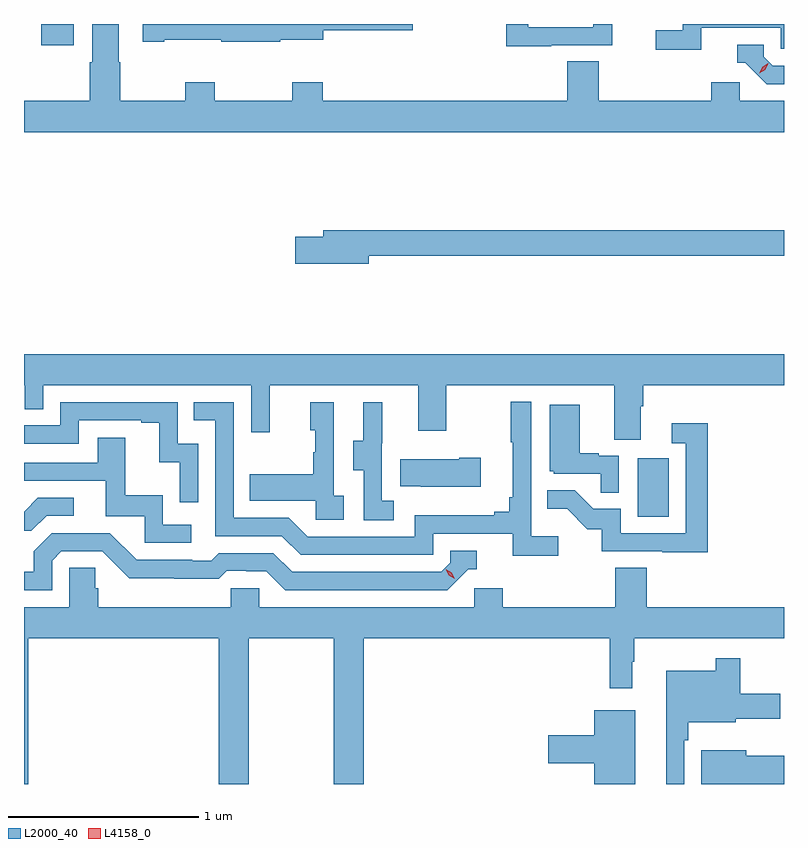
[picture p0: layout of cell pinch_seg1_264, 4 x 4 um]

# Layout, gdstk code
import gdstk
lib = gdstk.Library(unit=1e-6, precision=1e-09)
def R(c, l, rs):  # rectangles x0, y0, x1, y1
    for r in rs: c.add(gdstk.rectangle(r[:2], r[2:], *l))
def P(c, l, *ps):  # polygons
    for p in ps: c.add(gdstk.Polygon(p, *l))
L2000_40 = (2000, 40)
L4158_0 = (4158, 0)

pinch_seg1_264 = lib.new_cell('pinch_seg1_264')
R(pinch_seg1_264, L2000_40, [(926.822,571.02,926.986,571.327), (923.684,573.501,923.854,573.613)])
P(pinch_seg1_264, L2000_40, [(927.593,573.208),(927.36,573.208),(927.36,573.306),(927.209,573.306),(927.209,573.208),(926.618,573.208),(926.618,573.416),(926.453,573.416),(926.453,573.208),(925.166,573.208),(925.166,573.307),(925.006,573.307),(925.006,573.208),(924.597,573.208),(924.597,573.307),(924.442,573.307),(924.442,573.208),(924.099,573.208),(924.099,573.413),(924.091,573.413),(924.091,573.613),(923.951,573.613),(923.951,573.413),(923.939,573.413),(923.939,573.208),(923.593,573.208),(923.593,573.044),(927.593,573.044)],
  [(927.158,573.594),(927.576,573.594),(927.576,573.483),(927.593,573.483),(927.593,573.613),(927.06,573.613),(927.06,573.58),(926.919,573.58),(926.919,573.478),(927.158,573.478)],
  [(926.369,573.501),(926.688,573.501),(926.688,573.613),(926.589,573.613),(926.589,573.597),(926.247,573.597),(926.247,573.613),(926.131,573.613),(926.131,573.496),(926.369,573.496)],
  [(924.331,573.529),(924.631,573.529),(924.631,573.519),(924.941,573.519),(924.941,573.529),(925.168,573.529),(925.168,573.58),(925.639,573.58),(925.639,573.613),(924.219,573.613),(924.219,573.519),(924.331,573.519)],
  [(927.593,573.393),(927.534,573.393),(927.486,573.441),(927.486,573.504),(927.347,573.504),(927.347,573.408),(927.39,573.408),(927.501,573.297),(927.593,573.297)],
  [(925.408,572.392),(927.593,572.392),(927.593,572.528),(925.169,572.528),(925.169,572.492),(925.02,572.492),(925.02,572.35),(925.408,572.35)],
  [(926.839,571.6),(926.852,571.6),(926.852,571.712),(927.593,571.712),(927.593,571.876),(923.593,571.876),(923.593,571.712),(923.598,571.712),(923.598,571.585),(923.694,571.585),(923.694,571.712),(924.789,571.712),(924.789,571.464),(924.887,571.464),(924.887,571.712),(925.667,571.712),(925.667,571.473),(925.815,571.473),(925.815,571.712),(926.699,571.712),(926.699,571.426),(926.839,571.426)],
  [(926.404,570.916),(926.262,570.916),(926.262,571.624),(926.154,571.624),(926.154,571.411),(926.165,571.411),(926.165,571.123),(926.146,571.123),(926.146,571.046),(926.069,571.046),(926.069,571.027),(925.65,571.027),(925.65,570.915),(925.086,570.915),(924.987,571.014),(924.696,571.014),(924.696,571.623),(924.487,571.623),(924.487,571.527),(924.6,571.527),(924.6,570.918),(924.95,570.918),(925.049,570.819),(925.746,570.819),(925.746,570.93),(926.165,570.93),(926.165,570.814),(926.404,570.814)],
  [(924.51,571.404),(924.402,571.404),(924.402,571.623),(923.784,571.623),(923.784,571.5),(923.593,571.5),(923.593,571.404),(923.88,571.404),(923.88,571.527),(924.209,571.527),(924.209,571.515),(924.305,571.515),(924.305,571.307),(924.414,571.307),(924.414,571.095),(924.51,571.095)],
  [(925.276,571.13),(925.224,571.13),(925.224,571.621),(925.1,571.621),(925.1,571.476),(925.126,571.476),(925.126,571.358),(925.116,571.358),(925.116,571.243),(924.781,571.243),(924.781,571.103),(925.128,571.103),(925.128,571.005),(925.276,571.005)],
  [(925.54,571.103),(925.476,571.103),(925.476,571.407),(925.478,571.407),(925.478,571.621),(925.379,571.621),(925.379,571.419),(925.325,571.419),(925.325,571.264),(925.38,571.264),(925.38,571),(925.54,571)],
  [(926.724,571.341),(926.618,571.341),(926.618,571.354),(926.518,571.354),(926.518,571.609),(926.36,571.609),(926.36,571.26),(926.382,571.26),(926.382,571.245),(926.629,571.245),(926.629,571.147),(926.724,571.147)],
  [(927.191,571.513),(927.003,571.513),(927.003,571.407),(927.075,571.407),(927.075,570.933),(926.733,570.933),(926.733,571.062),(926.589,571.062),(926.491,571.16),(926.347,571.16),(926.347,571.061),(926.451,571.061),(926.558,570.954),(926.635,570.954),(926.635,570.837),(926.953,570.837),(926.953,570.832),(927.191,570.832)],
  [(924.472,570.978),(924.324,570.978),(924.324,571.132),(924.125,571.132),(924.125,571.435),(923.981,571.435),(923.981,571.305),(923.593,571.305),(923.593,571.209),(924.023,571.209),(924.023,571.023),(924.228,571.023),(924.228,570.882),(924.472,570.882)],
  [(925.996,571.329),(925.883,571.329),(925.883,571.321),(925.573,571.321),(925.573,571.181),(925.681,571.181),(925.681,571.178),(925.996,571.178)],
  [(923.712,571.026),(923.854,571.026),(923.854,571.119),(923.666,571.119),(923.593,571.046),(923.593,570.946),(923.632,570.946)],
  [(923.742,570.789),(923.79,570.837),(924.006,570.837),(924.148,570.695),(924.384,570.695),(924.384,570.693),(924.617,570.693),(924.659,570.735),(924.762,570.735),(924.762,570.732),(924.869,570.732),(924.968,570.633),(925.821,570.633),(925.932,570.744),(925.975,570.744),(925.975,570.84),(925.836,570.84),(925.836,570.777),(925.788,570.729),(925.005,570.729),(924.906,570.828),(924.617,570.828),(924.578,570.789),(924.479,570.789),(924.479,570.792),(924.186,570.792),(924.045,570.933),(923.739,570.933),(923.645,570.839),(923.645,570.729),(923.593,570.729),(923.593,570.633),(923.742,570.633)],
  [(923.615,570.38),(924.617,570.38),(924.617,569.613),(924.777,569.613),(924.777,570.38),(925.222,570.38),(925.222,569.613),(925.382,569.613),(925.382,570.38),(926.677,570.38),(926.677,570.117),(926.794,570.117),(926.794,570.257),(926.806,570.257),(926.806,570.38),(927.593,570.38),(927.593,570.544),(926.87,570.544),(926.87,570.752),(926.705,570.752),(926.705,570.544),(926.114,570.544),(926.114,570.642),(925.962,570.642),(925.962,570.544),(924.831,570.544),(924.831,570.642),(924.681,570.642),(924.681,570.544),(923.984,570.544),(923.984,570.642),(923.969,570.642),(923.969,570.752),(923.832,570.752),(923.832,570.544),(923.593,570.544),(923.593,569.613),(923.615,569.613)],
  [(927.069,569.843),(927.089,569.843),(927.089,569.939),(927.339,569.939),(927.339,569.957),(927.574,569.957),(927.574,570.087),(927.362,570.087),(927.362,570.274),(927.234,570.274),(927.234,570.208),(926.972,570.208),(926.972,569.613),(927.069,569.613)],
  [(926.809,570.001),(926.594,570.001),(926.594,569.87),(926.352,569.87),(926.352,569.723),(926.594,569.723),(926.594,569.613),(926.809,569.613)],
  [(927.593,569.761),(927.394,569.761),(927.394,569.791),(927.158,569.791),(927.158,569.613),(927.593,569.613)])
P(pinch_seg1_264, L4158_0, [(927.464,573.354),(927.464,573.354),(927.48,573.387),(927.511,573.406),(927.511,573.406),(927.511,573.406),(927.495,573.373),(927.464,573.354)],
  [(925.86,570.692),(925.829,570.711),(925.813,570.744),(925.813,570.744),(925.814,570.744),(925.844,570.725),(925.86,570.692),(925.86,570.692)])

lib.write_gds('pinch_seg1_264.gds')
